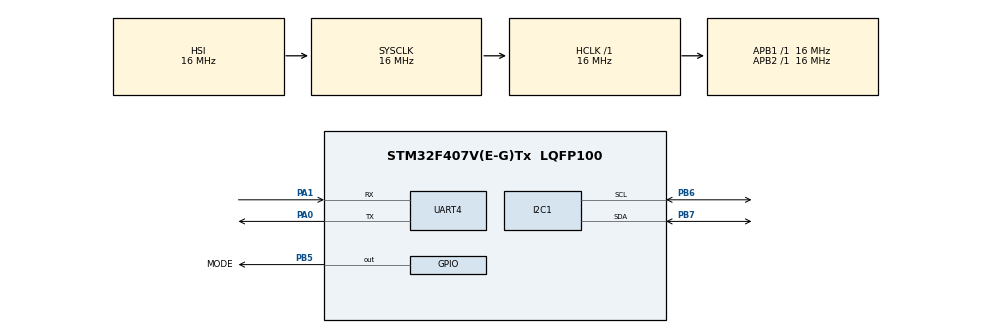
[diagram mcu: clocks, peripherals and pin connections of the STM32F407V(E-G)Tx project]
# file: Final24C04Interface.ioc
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Dma.I2C1_RX.2.Direction=DMA_PERIPH_TO_MEMORY
Dma.I2C1_RX.2.FIFOMode=DMA_FIFOMODE_DISABLE
Dma.I2C1_RX.2.Instance=DMA1_Stream0
Dma.I2C1_RX.2.MemDataAlignment=DMA_MDATAALIGN_BYTE
Dma.I2C1_RX.2.MemInc=DMA_MINC_ENABLE
Dma.I2C1_RX.2.Mode=DMA_NORMAL
Dma.I2C1_RX.2.PeriphDataAlignment=DMA_PDATAALIGN_BYTE
Dma.I2C1_RX.2.PeriphInc=DMA_PINC_DISABLE
Dma.I2C1_RX.2.Priority=DMA_PRIORITY_LOW
Dma.I2C1_TX.3.Direction=DMA_MEMORY_TO_PERIPH
Dma.I2C1_TX.3.FIFOMode=DMA_FIFOMODE_DISABLE
Dma.I2C1_TX.3.Instance=DMA1_Stream6
Dma.I2C1_TX.3.MemDataAlignment=DMA_MDATAALIGN_BYTE
Dma.I2C1_TX.3.MemInc=DMA_MINC_ENABLE
Dma.I2C1_TX.3.Mode=DMA_NORMAL
Dma.I2C1_TX.3.PeriphDataAlignment=DMA_PDATAALIGN_BYTE
Dma.I2C1_TX.3.PeriphInc=DMA_PINC_DISABLE
Dma.I2C1_TX.3.Priority=DMA_PRIORITY_LOW
Dma.Request0=UART4_RX
Dma.Request1=UART4_TX
Dma.Request2=I2C1_RX
Dma.Request3=I2C1_TX
Dma.UART4_RX.0.Direction=DMA_PERIPH_TO_MEMORY
Dma.UART4_RX.0.FIFOMode=DMA_FIFOMODE_DISABLE
Dma.UART4_RX.0.Instance=DMA1_Stream2
Dma.UART4_RX.0.MemDataAlignment=DMA_MDATAALIGN_BYTE
Dma.UART4_RX.0.MemInc=DMA_MINC_ENABLE
Dma.UART4_RX.0.Mode=DMA_NORMAL
Dma.UART4_RX.0.PeriphDataAlignment=DMA_PDATAALIGN_BYTE
Dma.UART4_RX.0.PeriphInc=DMA_PINC_DISABLE
Dma.UART4_RX.0.Priority=DMA_PRIORITY_LOW
Dma.UART4_TX.1.Direction=DMA_MEMORY_TO_PERIPH
Dma.UART4_TX.1.FIFOMode=DMA_FIFOMODE_DISABLE
Dma.UART4_TX.1.Instance=DMA1_Stream4
Dma.UART4_TX.1.MemDataAlignment=DMA_MDATAALIGN_BYTE
Dma.UART4_TX.1.MemInc=DMA_MINC_ENABLE
Dma.UART4_TX.1.Mode=DMA_NORMAL
Dma.UART4_TX.1.PeriphDataAlignment=DMA_PDATAALIGN_BYTE
Dma.UART4_TX.1.PeriphInc=DMA_PINC_DISABLE
Dma.UART4_TX.1.Priority=DMA_PRIORITY_LOW
Mcu.Family=STM32F4
Mcu.Name=STM32F407V(E-G)Tx
Mcu.Package=LQFP100
NVIC.DMA1_Stream0_IRQn=true\:0\:0\:false\:false\:true\:false\:true
NVIC.DMA1_Stream2_IRQn=true\:0\:0\:false\:false\:true\:false\:true
NVIC.DMA1_Stream4_IRQn=true\:0\:0\:false\:false\:true\:false\:true
NVIC.DMA1_Stream6_IRQn=true\:0\:0\:false\:false\:true\:false\:true
NVIC.I2C1_ER_IRQn=true\:0\:0\:false\:false\:true\:true\:true
NVIC.I2C1_EV_IRQn=true\:0\:0\:false\:false\:true\:true\:true
NVIC.PriorityGroup=NVIC_PRIORITYGROUP_4
NVIC.UART4_IRQn=true\:0\:0\:false\:false\:true\:true\:true
PA0-WKUP.Mode=Asynchronous
PA0-WKUP.Signal=UART4_TX
PA1.Mode=Asynchronous
PA1.Signal=UART4_RX
PA13.Mode=Serial_Wire
PA13.Signal=SYS_JTMS-SWDIO
PA14.Mode=Serial_Wire
PA14.Signal=SYS_JTCK-SWCLK
PB5.GPIO_Label=MODE
PB5.Signal=GPIO_Output
PB6.Mode=I2C
PB6.Signal=I2C1_SCL
PB7.Mode=I2C
PB7.Signal=I2C1_SDA
PH0-OSC_IN.Mode=HSE-External-Oscillator
PH0-OSC_IN.Signal=RCC_OSC_IN
PH1-OSC_OUT.Mode=HSE-External-Oscillator
PH1-OSC_OUT.Signal=RCC_OSC_OUT
ProjectManager.HeapSize=0x200
ProjectManager.StackSize=0x400
ProjectManager.TargetToolchain=MDK-ARM V5
RCC.AHBFreq_Value=16000000
RCC.APB1Freq_Value=16000000
RCC.APB2Freq_Value=16000000
RCC.CortexFreq_Value=16000000
RCC.HSE_VALUE=25000000
RCC.HSI_VALUE=16000000
RCC.LSE_VALUE=32768
RCC.SYSCLKFreq_VALUE=16000000
RCC.VCOOutputFreq_Value=192000000
UART4.VirtualMode=Asynchronous
board=custom

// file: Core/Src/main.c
/* USER CODE BEGIN Header */
/**
  ******************************************************************************
  * @file           : main.c
  * @brief          : Main program body
  ******************************************************************************
  * @attention
  *
  * <h2><center>&copy; Copyright (c) 2021 STMicroelectronics.
  * All rights reserved.</center></h2>
  *
  * This software component is licensed by ST under BSD 3-Clause license,
  * the "License"; You may not use this file except in compliance with the
  * License. You may obtain a copy of the License at:
  *                        opensource.org/licenses/BSD-3-Clause
  *
  ******************************************************************************
  */
/* USER CODE END Header */
#include "main.h"
#include <stdio.h>
#include "btlnhom11.h"

I2C_HandleTypeDef hi2c1;
DMA_HandleTypeDef hdma_i2c1_rx;
DMA_HandleTypeDef hdma_i2c1_tx;

UART_HandleTypeDef huart4;
DMA_HandleTypeDef hdma_uart4_rx;
DMA_HandleTypeDef hdma_uart4_tx;

/* USER CODE BEGIN PV */
uint8_t data_to_write ='A';
uint8_t test_Tx_buff[RECEIVE_DATA_SIZE];
uint8_t test_Rx_buff[RECEIVE_DATA_SIZE];
uint8_t lock;
uint16_t size;
uint8_t data_read[256];
extern uint8_t address;
extern uint8_t EEPROM_ADDRESS;
HAL_StatusTypeDef status;
Eeprom_Typedef My_Eeprom;
/* USER CODE END PV */

void SystemClock_Config(void);
static void MX_GPIO_Init(void);
static void MX_DMA_Init(void);
static void MX_UART4_Init(void);
static void MX_I2C1_Init(void);

int main(void)
{

  /* MCU Configuration--------------------------------------------------------*/

  /* Reset of all peripherals, Initializes the Flash interface and the Systick. */
  HAL_Init();

  /* Configure the system clock */
  SystemClock_Config();

  /* Initialize all configured peripherals */
  MX_GPIO_Init();
  MX_DMA_Init();
  MX_UART4_Init();
  MX_I2C1_Init();
  /* USER CODE BEGIN 2 */
//	HAL_UART_Receive_DMA(&huart4, test_Rx_buff, 1);
//	HAL_UART_Transmit_DMA(&huart4, &data_to_write, 1);
	HAL_UARTEx_ReceiveToIdle_DMA(&huart4, test_Rx_buff, RECEIVE_DATA_SIZE);
	__HAL_DMA_DISABLE_IT(&hdma_uart4_rx, DMA_IT_HT);
  /* USER CODE END 2 */

  /* Infinite loop */
  while (1)
  {
		//HAL_UART_Transmit_DMA(&huart4, &data_to_write, 1);
		//HAL_Delay(100);
			while (My_Eeprom.Trigger == 0);
			if((My_Eeprom.Mode ==  WRITE_BYTE) || (My_Eeprom.Mode ==  WRITE_BLOCK) )
			{
				protocolencode(&My_Eeprom, write_eeprom(&My_Eeprom, &hi2c1), data_read);
				HAL_UART_Transmit_DMA(&huart4, My_Eeprom.Data, 2);
			}
			else if (My_Eeprom.Mode ==  READ_BYTE)
			{
				protocolencode(&My_Eeprom, read_eeprom(&My_Eeprom, &hi2c1,data_read), data_read);
				HAL_UART_Transmit_DMA(&huart4, My_Eeprom.Data, My_Eeprom.Datasize + 4);
			}
			else
			{
				protocolencode(&My_Eeprom, read_eeprom(&My_Eeprom, &hi2c1,data_read), data_read);
				test_Tx_buff[0] = 'F';
				test_Tx_buff[1] = '1';
				test_Tx_buff[2] = 'D';
				for(int i = 0; i < BLOCK_SIZE; i++) test_Tx_buff[i+3] = My_Eeprom.Data[i];
				test_Tx_buff[259] = '*';
				HAL_UART_Transmit_DMA(&huart4, test_Tx_buff, My_Eeprom.Datasize + 4);
			}
  }
}

void SystemClock_Config(void)
{
  RCC_OscInitTypeDef RCC_OscInitStruct = {0};
  RCC_ClkInitTypeDef RCC_ClkInitStruct = {0};

  /** Configure the main internal regulator output voltage
  */
  __HAL_RCC_PWR_CLK_ENABLE();
  __HAL_PWR_VOLTAGESCALING_CONFIG(PWR_REGULATOR_VOLTAGE_SCALE1);
  /** Initializes the RCC Oscillators according to the specified parameters
  * in the RCC_OscInitTypeDef structure.
  */
  RCC_OscInitStruct.OscillatorType = RCC_OSCILLATORTYPE_HSI;
  RCC_OscInitStruct.HSIState = RCC_HSI_ON;
  RCC_OscInitStruct.HSICalibrationValue = RCC_HSICALIBRATION_DEFAULT;
  RCC_OscInitStruct.PLL.PLLState = RCC_PLL_NONE;
  if (HAL_RCC_OscConfig(&RCC_OscInitStruct) != HAL_OK)
  {
    Error_Handler();
  }
  /** Initializes the CPU, AHB and APB buses clocks
  */
  RCC_ClkInitStruct.ClockType = RCC_CLOCKTYPE_HCLK|RCC_CLOCKTYPE_SYSCLK
                              |RCC_CLOCKTYPE_PCLK1|RCC_CLOCKTYPE_PCLK2;
  RCC_ClkInitStruct.SYSCLKSource = RCC_SYSCLKSOURCE_HSI;
  RCC_ClkInitStruct.AHBCLKDivider = RCC_SYSCLK_DIV1;
  RCC_ClkInitStruct.APB1CLKDivider = RCC_HCLK_DIV1;
  RCC_ClkInitStruct.APB2CLKDivider = RCC_HCLK_DIV1;

  if (HAL_RCC_ClockConfig(&RCC_ClkInitStruct, FLASH_LATENCY_0) != HAL_OK)
  {
    Error_Handler();
  }
}

static void MX_I2C1_Init(void)
{

  hi2c1.Instance = I2C1;
  hi2c1.Init.ClockSpeed = 100000;
  hi2c1.Init.DutyCycle = I2C_DUTYCYCLE_2;
  hi2c1.Init.OwnAddress1 = 0;
  hi2c1.Init.AddressingMode = I2C_ADDRESSINGMODE_7BIT;
  hi2c1.Init.DualAddressMode = I2C_DUALADDRESS_DISABLE;
  hi2c1.Init.OwnAddress2 = 0;
  hi2c1.Init.GeneralCallMode = I2C_GENERALCALL_DISABLE;
  hi2c1.Init.NoStretchMode = I2C_NOSTRETCH_DISABLE;
  if (HAL_I2C_Init(&hi2c1) != HAL_OK)
  {
    Error_Handler();
  }

}

static void MX_UART4_Init(void)
{

  huart4.Instance = UART4;
  huart4.Init.BaudRate = 115200;
  huart4.Init.WordLength = UART_WORDLENGTH_8B;
  huart4.Init.StopBits = UART_STOPBITS_1;
  huart4.Init.Parity = UART_PARITY_NONE;
  huart4.Init.Mode = UART_MODE_TX_RX;
  huart4.Init.HwFlowCtl = UART_HWCONTROL_NONE;
  huart4.Init.OverSampling = UART_OVERSAMPLING_16;
  if (HAL_UART_Init(&huart4) != HAL_OK)
  {
    Error_Handler();
  }

}

static void MX_DMA_Init(void)
{

  /* DMA controller clock enable */
  __HAL_RCC_DMA1_CLK_ENABLE();

  /* DMA interrupt init */
  /* DMA1_Stream0_IRQn interrupt configuration */
  HAL_NVIC_SetPriority(DMA1_Stream0_IRQn, 0, 0);
  HAL_NVIC_EnableIRQ(DMA1_Stream0_IRQn);
  /* DMA1_Stream2_IRQn interrupt configuration */
  HAL_NVIC_SetPriority(DMA1_Stream2_IRQn, 0, 0);
  HAL_NVIC_EnableIRQ(DMA1_Stream2_IRQn);
  /* DMA1_Stream4_IRQn interrupt configuration */
  HAL_NVIC_SetPriority(DMA1_Stream4_IRQn, 0, 0);
  HAL_NVIC_EnableIRQ(DMA1_Stream4_IRQn);
  /* DMA1_Stream6_IRQn interrupt configuration */
  HAL_NVIC_SetPriority(DMA1_Stream6_IRQn, 0, 0);
  HAL_NVIC_EnableIRQ(DMA1_Stream6_IRQn);

}

static void MX_GPIO_Init(void)
{
  GPIO_InitTypeDef GPIO_InitStruct = {0};

  /* GPIO Ports Clock Enable */
  __HAL_RCC_GPIOH_CLK_ENABLE();
  __HAL_RCC_GPIOA_CLK_ENABLE();
  __HAL_RCC_GPIOB_CLK_ENABLE();

  /*Configure GPIO pin Output Level */
  HAL_GPIO_WritePin(MODE_GPIO_Port, MODE_Pin, GPIO_PIN_RESET);

  /*Configure GPIO pin : MODE_Pin */
  GPIO_InitStruct.Pin = MODE_Pin;
  GPIO_InitStruct.Mode = GPIO_MODE_OUTPUT_PP;
  GPIO_InitStruct.Pull = GPIO_NOPULL;
  GPIO_InitStruct.Speed = GPIO_SPEED_FREQ_LOW;
  HAL_GPIO_Init(MODE_GPIO_Port, &GPIO_InitStruct);

}

/* USER CODE BEGIN 4 */
void HAL_I2C_MemTxCpltCallback(I2C_HandleTypeDef *hi2c)
{
	lock = 0;
	//Status = HAL_I2C_Mem_Read_DMA(&hi2c1, EEPROM_ADDRESS, 0x1F, 1, &data_read, 1);
}
void HAL_I2C_MemRxCpltCallback(I2C_HandleTypeDef *hi2c)
{
	lock = 0;
}
void HAL_UART_TxCpltCallback(UART_HandleTypeDef *huart)
{
//	count1++;
//	lock = 1;
}
//void HAL_UART_RxCpltCallback(UART_HandleTypeDef *huart)
//{
//	lock = 0;
//	status = HAL_UART_Receive_DMA(&huart4, test_Rx_buff, 1);
////	count2++;
//	HAL_UART_Transmit_DMA(&huart4, &data_to_write, 1);
//}

void HAL_UARTEx_RxEventCallback(UART_HandleTypeDef *huart, uint16_t Size)
{
		//HAL_Delay(1000);
     status = HAL_UARTEx_ReceiveToIdle_DMA(&huart4, test_Rx_buff, RECEIVE_DATA_SIZE);
		 __HAL_DMA_DISABLE_IT(&hdma_uart4_rx, DMA_IT_HT);
     HAL_UART_Transmit_DMA(&huart4, protocoldecode(test_Rx_buff,Size, &My_Eeprom), 2);
}
void HAL_UART_ErrorCallback(UART_HandleTypeDef *huart)
{
	  HAL_UART_DeInit(&huart4);
		HAL_UART_Init(&huart4);
    HAL_UARTEx_ReceiveToIdle_DMA(&huart4, test_Rx_buff, RECEIVE_DATA_SIZE);
		__HAL_DMA_DISABLE_IT(&hdma_uart4_rx, DMA_IT_HT);
}
/* USER CODE END 4 */

void Error_Handler(void)
{
  __disable_irq();
  while (1)
  {
  }
}

/************************ (C) COPYRIGHT STMicroelectronics *****END OF FILE****/
